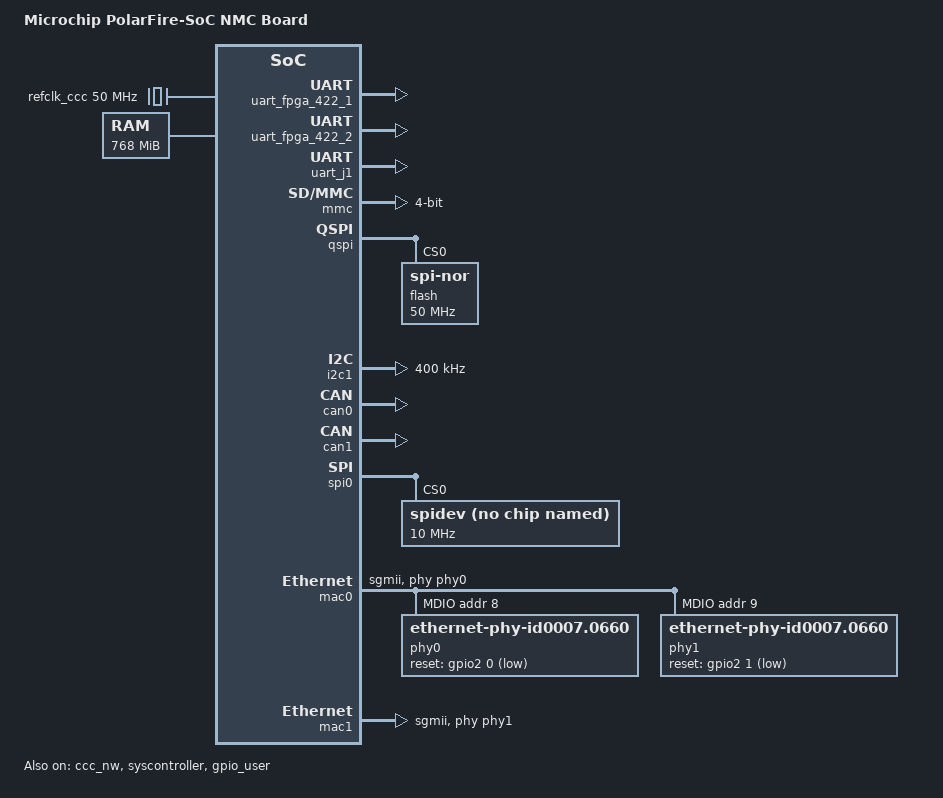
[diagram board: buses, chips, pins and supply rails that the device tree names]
// SPDX-License-Identifier: (GPL-2.0 OR MIT)
/* Written by Ryan Nguyen | Andrew Carton 8/12/26 */
/* Modified by Zein Sebraoui 8/22/26 */

/dts-v1/;

#include "mpfs.dtsi"
#include <dt-bindings/gpio/gpio.h>

/ {
	model = "Microchip PolarFire-SoC NMC Board";
	compatible = "microchip,mpfs-custom-mss", "microchip,mpfs";

	aliases {
		ethernet0 = &mac0;
		ethernet1 = &mac1;
		serial0 = &mmuart0;
		serial1 = &mmuart1;
		serial2 = &mmuart2;
		serial3 = &mmuart4;		/* MMUART_4 RS-422 on J5 -> ttyS3 */
		serial4 = &uart_fpga_422_1;	/* fabric Core16550, J12 pins 6-9 -> ttyS4 */
		serial5 = &uart_fpga_422_2;	/* fabric Core16550, J5 E34-E38 -> ttyS5 */
		serial6 = &uart_j1;		/* fabric Core16550, J1 3.3 V TTL -> ttyS6 */
		i2c1 = &i2c1;
		can0 = &can0;			/* CAN_0 (via fabric), J12 pins 14/15 */
		can1 = &can1;			/* CAN_1 (MSS I/O), J12 pins 11/12 */
		mmc0 = &mmc;
		spi0 = &spi0;
	};

	chosen {
		/* Console on MMUART1 (ttyS1, Window 2). Bare earlycon follows stdout-path. */
		bootargs = "console=ttyS1,115200n8 earlycon root=/dev/mmcblk0p3 rootwait rw";
		stdout-path = "serial1:115200n8";
	};

	/* Required base reference clock for CCC / Clocks */
	refclk_ccc: cccrefclk {
		compatible = "fixed-clock";
		#clock-cells = <0>;
		clock-frequency = <50000000>;
	};

	/* Fabric APB clock for the FIC3 peripherals (PF_CCC_C0 OUT3, 50 MHz) */
	fabric_clk3: fabric-clk3 {
		compatible = "fixed-clock";
		#clock-cells = <0>;
		clock-frequency = <50000000>;
	};

	/* Match the 768 MB range configured in Libero */
	ddrc_cache_lo: memory@80000000 {
		device_type = "memory";
		reg = <0x0 0x80000000 0x0 0x30000000>;
		status = "okay";
	};

	/* Disable 16GB High Cached region */
	ddrc_cache_hi: memory@1000000000 {
		status = "disabled";
	};

	reserved-memory {
		#address-cells = <2>;
		#size-cells = <2>;
		ranges;

		/* HSS payload reservation at top of 768MB region (0xAF800000) */
		hss_payload: region@af800000 {
			reg = <0x0 0xaf800000 0x0 0x800000>;
			no-map;
		};
	};
};

&{/soc} {
    pcie0: pcie@e0000000 {
        compatible = "microchip,pcie-host-1.0";
        reg = <0x0 0xe0000000 0x0 0x01000000>,   /* ECAM cfg, 16MB (buses 0-15) via FIC1 */
              <0x0 0x43004000 0x0 0x00002000>,   /* PCIe CTRL 0 bridge regs via FIC3 */
              <0x0 0x43006000 0x0 0x00002000>;   /* PCIe CTRL 0 ctrl regs via FIC3 */
        reg-names = "cfg", "bridge", "ctrl";
        bus-range = <0x0 0x0f>;

        #address-cells = <3>;
        #size-cells = <2>;
        device_type = "pci";

        clocks = <&clkcfg 28>, <&clkcfg 30>;     /* CLK_FIC1, CLK_FIC3 */
        clock-names = "fic1", "fic3";

        /* 112MB non-prefetchable MEM window, after the cfg space */
        ranges = <0x02000000 0x0 0xe1000000 0x0 0xe1000000 0x0 0x07000000>;
        dma-ranges = <0x02000000 0x0 0x80000000 0x0 0x80000000 0x0 0x40000000>;

        #interrupt-cells = <1>;
        interrupt-parent = <&plic>;
        interrupts = <119>;                       /* MSS_INT_F2M[1] */
        interrupt-map-mask = <0x0 0x0 0x0 0x7>;
        interrupt-map = <0 0 0 1 &pcie_intc0 0>,
                        <0 0 0 2 &pcie_intc0 1>,
                        <0 0 0 3 &pcie_intc0 2>,
                        <0 0 0 4 &pcie_intc0 3>;

        msi-parent = <&pcie0>;
        msi-controller;
        /* Disabled by default: the root port needs the NMC reference design and an SSD.
         * Set to "okay" to use it. */
        status = "disabled";

        pcie_intc0: interrupt-controller {
            #address-cells = <0>;
            #interrupt-cells = <1>;
            interrupt-controller;
        };
    };

    /* Fabric RS-422 UARTs (Core16550) on FIC3 APB, 50 MHz PCLK, MSS_INT_F2M[2]/[3] */
    uart_fpga_422_1: serial@51000000 {
        compatible = "ns16550a";
        reg = <0x0 0x51000000 0x0 0x1000>;
        reg-shift = <2>;
        reg-io-width = <4>;
        clock-frequency = <50000000>;
        interrupt-parent = <&plic>;
        interrupts = <120>;
        status = "okay";
    };

    uart_fpga_422_2: serial@52000000 {
        compatible = "ns16550a";
        reg = <0x0 0x52000000 0x0 0x1000>;
        reg-shift = <2>;
        reg-io-width = <4>;
        clock-frequency = <50000000>;
        interrupt-parent = <&plic>;
        interrupts = <121>;
        status = "okay";
    };

    /* J1 3.3 V TTL UART (Core16550), MSS_INT_F2M[4] */
    uart_j1: serial@53000000 {
        compatible = "ns16550a";
        reg = <0x0 0x53000000 0x0 0x1000>;
        reg-shift = <2>;
        reg-io-width = <4>;
        clock-frequency = <50000000>;
        interrupt-parent = <&plic>;
        interrupts = <122>;
        status = "okay";
    };

    /* User GPIO (CoreGPIO): SW2 button (in, active low, MSS_INT_F2M[5]),
     * RGB LED (out, active low: 0 = on). Plain GPIO lines, no fixed behaviour. */
    gpio_user: gpio@54000000 {
        compatible = "microchip,coregpio-rtl-v3";
        reg = <0x0 0x54000000 0x0 0x1000>;
        clocks = <&fabric_clk3>;
        gpio-controller;
        #gpio-cells = <2>;
        ngpios = <4>;
        gpio-line-names = "SW2_N", "LED_R", "LED_G", "LED_B";
        interrupt-controller;
        #interrupt-cells = <2>;
        interrupt-parent = <&plic>;
        interrupts = <123>;
        status = "okay";
    };
};

/* Core SoC Reference Clocks */
&refclk { 
	clock-frequency = <125000000>; 
};

&ccc_nw {
	clocks = <&refclk_ccc>, <&refclk_ccc>, <&refclk_ccc>, <&refclk_ccc>,
		 <&refclk_ccc>, <&refclk_ccc>;
	clock-names = "pll0_ref0", "pll0_ref1", "pll1_ref0", "pll1_ref1",
		      "dll0_ref", "dll1_ref";
	status = "okay";
};

/* Hardware MSS UART Configuration */
&mmuart0 { status = "okay"; };
&mmuart1 { status = "okay"; };     /* Main Console */
&mmuart2 { status = "okay"; };
&mmuart3 { status = "disabled"; };
&mmuart4 { status = "okay"; };

/* eMMC (U2): VCC and VCCQ are both +3V3, so I/O is 3.3 V only.
 * Fastest in-spec mode at 3.3 V is High-Speed DDR (52 MHz); HS200 needs 1.8 V I/O.
 * no-1-8-v: the controller advertises 1.8 V modes in its capability register and
 * Linux would otherwise pick HS200 on its own. */
&mmc {
	bus-width = <4>;
	disable-wp;
	no-1-8-v;
	cap-mmc-highspeed;
	mmc-ddr-3_3v;
	status = "okay";
};

&mbox {
	status = "okay";
};

&syscontroller {
	status = "okay";
};

/* QSPI flash IC1 (Infineon S25HL01GT, 1 Gbit). At 102 MHz the JEDEC ID read
 * back shifted by one bit (sampled a clock late), so run it at 50 MHz. */
&qspi {
	status = "okay";
	flash@0 {
		compatible = "jedec,spi-nor";
		reg = <0>;
		spi-max-frequency = <50000000>;
		spi-tx-bus-width = <4>;
		spi-rx-bus-width = <4>;
		status = "okay";
	};
};

/* MSS GPIO. Green LEDs D18/D16 (GPIO_0_11/12) and D13 (GPIO_1_0) are active low.
 * Plain GPIO lines, named for userspace (gpioset/gpioget), no fixed behaviour. */
&gpio0 {
	gpio-line-names = "", "", "", "", "", "", "", "", "", "", "",
			  "LED_D18", "LED_D16";
	status = "okay";
};

&gpio1 {
	gpio-line-names = "LED_D13";
	status = "okay";
};

&gpio2 { status = "okay"; };
&i2c0 { status = "disabled"; };

/* I2C1: J12 pins 24/25 and J4 A17/A27, for daughterboard devices (/dev/i2c-1) */
&i2c1 {
	status = "okay";
	clock-frequency = <400000>;
};

/* CAN_0: routed through the FPGA fabric (needs the NMC reference design) */
&can0 {
	status = "okay";
};

/* CAN_1: MSS I/O */
&can1 {
	status = "okay";
};

/* SPI0 on J12: 18 CS, 19 MISO, 20 MOSI, 21 CLK. Generic userspace access
 * (/dev/spidev0.0); replace with your device's own node to use its driver. */
&spi0 {
	status = "okay";

	spidev@0 {
		compatible = "rohm,dh2228fv";
		reg = <0>;
		spi-max-frequency = <10000000>;
	};
};

&spi1 { status = "disabled"; };
&usb { status = "disabled"; };

/* MAC 0 Shared MDIO and PHY Configuration */
&mac0 {
	status = "okay";
	phy-mode = "sgmii";
	phy-handle = <&phy0>;

	mdio {
		#address-cells = <1>;
		#size-cells = <0>;
		compatible = "cdns,macb-mdio"; 

		phy0: ethernet-phy@8 {
			reg = <8>;
            compatible = "ethernet-phy-id0007.0660", "ethernet-phy-ieee802.3-c22";
			/* Native Linux PHY Reset Handling (Replaces GPIO Hog) */
			reset-gpios = <&gpio2 0 GPIO_ACTIVE_LOW>;
			reset-assert-us = <10000>;
			reset-deassert-us = <20000>;
		};

		phy1: ethernet-phy@9 {
			reg = <9>;
            compatible = "ethernet-phy-id0007.0660", "ethernet-phy-ieee802.3-c22";
			/* Native Linux PHY Reset Handling (Replaces GPIO Hog) */
			reset-gpios = <&gpio2 1 GPIO_ACTIVE_LOW>;
			reset-assert-us = <10000>;
			reset-deassert-us = <20000>;
		};
	};
};

/* MAC 1 Data Plane */
&mac1 {
	status = "okay";
	phy-mode = "sgmii";
	phy-handle = <&phy1>;
};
